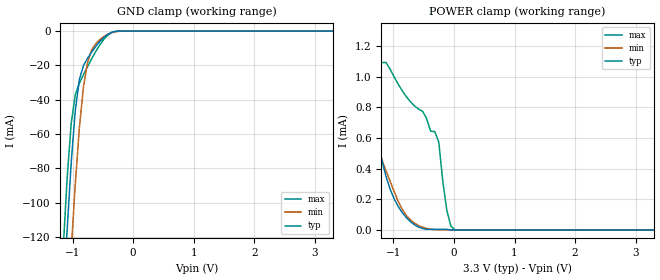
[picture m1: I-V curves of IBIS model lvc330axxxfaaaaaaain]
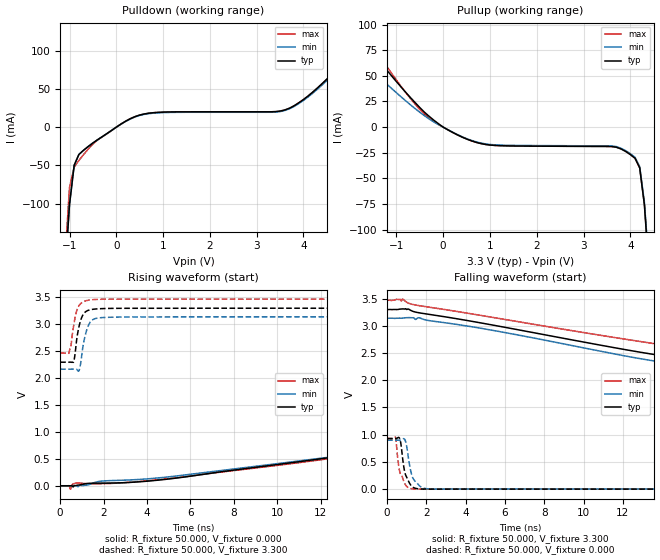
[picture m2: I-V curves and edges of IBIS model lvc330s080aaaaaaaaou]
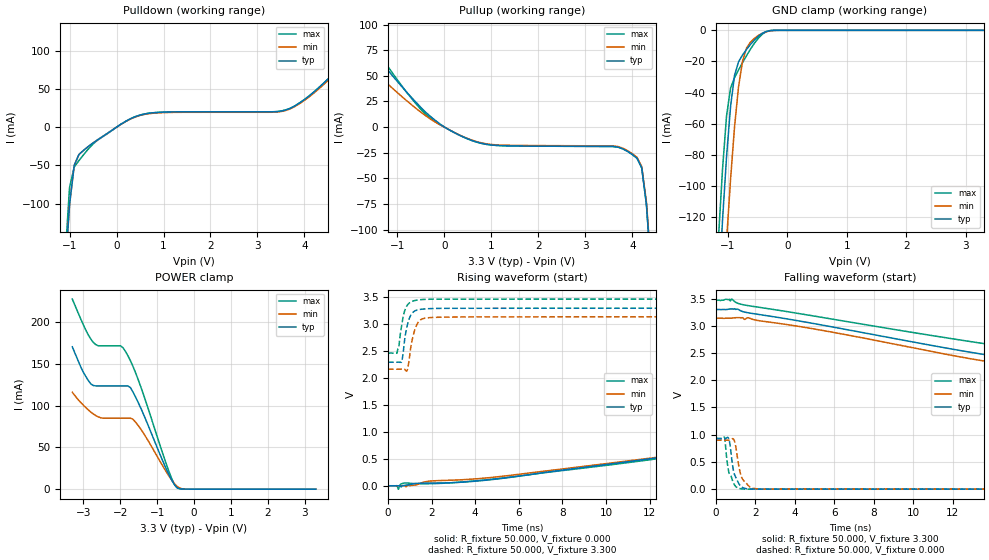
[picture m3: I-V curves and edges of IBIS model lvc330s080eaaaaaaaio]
| IBIS Models Generator: Lattice Radiant Software (64-bit) 2023.1.1.200.1
| Report Generate Date: Nov 20 2023
| Report Generate Time: 14:17:19
| IBIS File LibisMaker.ibs
| Cadence Design Systems, Inc. 2022
[IBIS ver]   4.2
[File Name]   comm_protocols_impl_1.ibs
[File Rev]   1.6
[Date]   Wed Dec 14 00:26:56 PST 2022
[Source]   Lattice Semiconductor 28fdsoi Process
[Notes]   Device: LFMXO5-25 Final
   Lattice Semiconductor has worked hard to ensure the
   models below are accurate and complete.  However, the
   data below was generated using simulation of the
   input/output model files for the silicon.  Therefore,
   the data below is for reference and initial design
   purposes only.
   Lattice Semiconductor grants permission to use this
   data for use in printed circuit design using this
   Lattice programmable logic device.  Other use of this
   code, including the selling or duplication of any
   portion is strictly prohibited.
|   NAMING CONVENTION
   The IBIS [Model] header is limited by the specification to a
   total of characters.  With such a set of characters available
   for naming models it becomes important to attempt to
   meaningfully encode the IO standards so they fit within the
   twenty character limit.  It would seem that twenty characters
   would provide room enough for describing IO's.  However, the
   PLD IO structure continues to grow more and more complex.  The
   complexity is making the twenty characters insuffiently
   descriptive.  In order to overcome this issue the naming
   convention described below is implemented to resolve the issue.
The twenty character space is managed as follows:
   bbbvvvsdddprttmaoixx
   b = standard
   v = voltage (x.xx V)
   s = slew code
   d = drive (xx.x ma)
   p = pullmode code
   r = impedance
   t = termination code
   m = mipi hard dphy mode
   o = diff resistor code
   i = diff  current code
   x = reserved
   standard
   LVCMOS   lvc
   LVCMOSH   lvh
   LVCMOSR   lvr
   LVCMOSD   lvd
   LVTTL   lvt
   lvttld   ltd
   sstl_I   ss1
   sstl_II   ss2
   sstld_I   s1d
   sstld_II   s2d
   hsul   hs1
   hsuld   h1d
   hstl_I   hs1
   hstld_I   h1d
   lvds   lvs
   lvdse   lve
   SUBLVDS   slv
   sublvdse   sle
   sublvdseh   slh
   slvs   svs
   mipi   mip
   vref1   vr1
   lvstl_I   ll1
   lvstl_II   ll2
   lvstld_I   l1d
   lvstld_II   l2d
   slew
   na   a
   fast   f
   slow   s
   med   m
   drive
   2   020
   4   040
   6   060
   8   080
   10   100
   12   120
   16   160
   50rs   r50
   na   xxx
   pullmode/clamp on
   none   a/e
   failsafe   a/e
   up   b/f
   down   c/g
   keeper   d/h
   i3c   i
   impedance
   off   a
   termination
   off   aa
   40   bb
   50   cc
   60   dd
   75   ee
   150   ff
   48   gg
   80   hh
   120   ii
   mipi hard dphy mode
   off   a
   lp   l
   hs   h
   differential resistor
   off   a
   100   b
   differential current
   NA   a
   2.0   b
   3.5   c
   Reserved   IO type
   in   input only (mipi: rx)
   ou   output (mipi: tx)
   io   I/O
   od   Open drain
   on   Inverting differential I/O
  (signal name only)
   op   Non-Inverting differential I/O
  (signal name only)
  (signal name only)
   All the IO models are generated with pull mode set to none.
   Lattice Semiconductor Corporation
   5555 NE Moore Court
   Hillsboro, OR 97214
   U.S.A
   TEL: 1-800-Lattice (USA and Canada)
   408-826-6000 (other locations)
   web: http://www.latticesemi.com/
   email: techsupport@latticesemi.com
[Disclaimer] This IBIS source code is intended as a design reference
   which illustrates how the Lattice Semiconductor device operates.
   It is the user's responsibility to verify their design for
   consistency and functionality through the use of formal
   verification methods.  Lattice Semiconductor provides no warranty
   regarding the use or functionality of this data.
[Copyright]   Copyright 2022 by Lattice Semiconductor Corporation
|   Component LFMXO5
[Component] LFMXO5
[Manufacturer] Lattice Semiconductor Corp.
[Package]
|BBG400
| variable   typ   min   max
R_pkg   0.36549   0.21269   0.57866
L_pkg   3.644e-9   2.134e-9   6.024e-9
C_pkg   1.195e-12   7.084e-13   1.745e-12
[Pin]  signal_name   model_name   R_pin   L_pin   C_pin
R3   s0_gpio[0]   lvc330s080gaaaaaaaio
G11   s0_gpio[9]   lvc330s080gaaaaaaaio
H11   s0_gpio[5]   lvc330s080gaaaaaaaio
R2   s0_gpio[1]   lvc330s080gaaaaaaaio
E15   s0_gpio[10]   lvc330s080gaaaaaaaio
G13   s0_gpio[6]   lvc330s080gaaaaaaaio
R1   s0_gpio[2]   lvc330s080gaaaaaaaio
F11   s0_gpio[11]   lvc330s080gaaaaaaaio
G12   s0_gpio[7]   lvc330s080gaaaaaaaio
P7   s0_gpio[3]   lvc330s080gaaaaaaaio
A15   s0_gpio[12]   lvc330s080eaaaaaaaio
F14   s0_gpio[8]   lvc330s080gaaaaaaaio
H12   s0_gpio[4]   lvc330s080gaaaaaaaio
A16   s0_gpio[13]   lvc330s080eaaaaaaaio
A18   s0_gpio[15]   lvc330s080faaaaaaaio
A17   s0_gpio[14]   lvc330s080gaaaaaaaio
G14   s1_uart_txd_o   lvc330s080aaaaaaaaou
H14   s1_uart_rxd_i   lvc330axxxfaaaaaaain
F20   rstn_i   lvc330axxxfaaaaaaain
| Models and submodels in the file (5): lvc330axxxfaaaaaaain (Input), lvc330s080aaaaaaaaou (Output), lvc330s080eaaaaaaaio (I/O), lvc330s080faaaaaaaio (I/O), lvc330s080gaaaaaaaio (I/O)
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[Model] lvc330axxxfaaaaaaain
Model_type Input
Polarity   Non-Inverting
Enable   Active-High
Vinl =  0.800V
Vinh =  2.000V
C_comp   5.000pF   4.000pF   5.500pF
[Temperature Range]   25.000   0.125k   -40.000
[Voltage Range]   3.300V   3.140V   3.470V
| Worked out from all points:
|   GND clamp passes 1 mA (typ) near -0.37 V on its own axis
|   POWER clamp passes 1 mA (typ) near -1.47 V on its own axis
[GND_clamp]
|Voltage   I(typ)   I(min)   I(max)
-3.3V     -1.865A    -1.847A    -1.883A
-1.156V   -160.1mA   -214.1mA   -127.6mA
-1.089V   -115.7mA   -169.6mA   -85.35mA
-1.022V   -76.45mA   -127.5mA   -53.7mA
-955mV    -46.24mA   -89.13mA   -37.05mA
-888mV    -28.3mA    -56.66mA   -30.41mA
-821mV    -20.19mA   -32.82mA   -25.52mA
-754mV    -15.89mA   -18.49mA   -20.81mA
-620mV    -9.094mA   -7.515mA   -12.09mA
-419mV    -1.868mA   -1.846mA   -2.383mA
-218mV    -16.48uA   -78.61uA   -6.639uA
3.3V      0A         0A         0A
[POWER_clamp]
|Voltage   I(typ)   I(min)   I(max)
-3.3V     37.53mA    9.364mA    73.7mA
-1.792V   1.823mA    1.318mA    2.466mA
-1.591V   1.29mA     991.8uA    1.714mA
-1.457V   981.8uA    795.4uA    1.299mA
-1.39V    843.7uA    703.6uA    1.091mA
-1.122V   347.7uA    385.2uA    1.091mA
-854mV    112.9uA    134.5uA    907uA
-586mV    19.15uA    28.85uA    788.2uA
-251mV    3.861uA    1.254uA    573.3uA
-117mV    3.861uA    1.254uA    126.7uA
17mV      69.96nA    1.254uA    1.636uA
3.3V      0A         0A         0A
[Model] lvc330s080aaaaaaaaou
Model_type Output
Polarity   Non-Inverting
Enable   Active-High
Vmeas =  1.650V
Cref =  0.0F
Rref =  1.000M
Vref =  0.0V
C_comp   5.000pF   4.000pF   5.500pF
[Temperature Range]   25.000   0.125k   -40.000
[Voltage Range]   3.300V   3.140V   3.470V
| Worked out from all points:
|   slope of the pulldown table from 0 to 0.495 V, typ, clamps not added: 31.5 ohm
|   slope of the pullup table from 0 to 0.495 V, typ, clamps not added: 43.2 ohm
|   rising waveform, R_fixture 50.000, V_fixture 0.000: 20-80 % time 10.1ns typ, 10.8ns min, 10.1ns max; typ from 0 V to 0.929 V
|   rising waveform, R_fixture 50.000, V_fixture 3.300: 20-80 % time 265ps typ, 295ps min, 259ps max; typ from 2.3 V to 3.3 V
|   falling waveform, R_fixture 50.000, V_fixture 3.300: 20-80 % time 9.12ns typ, 8.53ns min, 10.2ns max; typ from 3.3 V to 2.3 V
|   falling waveform, R_fixture 50.000, V_fixture 0.000: 20-80 % time 306ps typ, 322ps min, 315ps max; typ from 0.929 V to 0 V
[Pulldown]
|Voltage   I(typ)   I(min)   I(max)
-3.3V     -3.025A    -3.025A    -3.918A
-1.1V     -192.9mA   -192.9mA   -175.3mA
-1V       -101.2mA   -101.2mA   -78.95mA
-900mV    -49.86mA   -49.86mA   -52.21mA
-800mV    -35.81mA   -35.81mA   -43.74mA
200mV     7.775mA    7.542mA    7.775mA
800mV     18.91mA    18.34mA    18.91mA
3.6V      22.45mA    21.77mA    22.45mA
4.1V      40.8mA     39.58mA    40.8mA
5.4V      113.7mA    110.3mA    113.7mA
6.1V      131.6mA    127.7mA    131.6mA
6.6V      184.5mA    179mA      184.5mA
[Pullup]
|Voltage   I(typ)   I(min)   I(max)
-3.3V     145.5mA    90.7mA     185.8mA
-2.7V     96.8mA     74.7mA     125.4mA
-2.1V     95.1mA     70.11mA    105.4mA
-1.8V     86.3mA     64.15mA    96.9mA
-500mV    19.13mA    14.57mA    17.21mA
0V        28.62nA    228.6nA    28.62nA
600mV     -13.29mA   -12.89mA   -13.29mA
3.9V      -23.67mA   -22.96mA   -23.67mA
4.2V      -39.73mA   -38.54mA   -39.73mA
4.3V      -75.4mA    -73.1mA    -75.4mA
4.4V      -140.5mA   -136.3mA   -140.5mA
6.6V      -2.178A    -2.113A    -2.178A
[Ramp]
| variable   typ   min   max
dV/dt_r   0.690/10.154n   0.471/10.738n   0.489/10.105n
dV/dt_f   0.678/9.145n   0.512/8.567n   0.500/10.251n
R_load = 50.000
[Rising Waveform]
R_fixture = 50.000
V_fixture = 0.000
V_fixture_min = 0.000
V_fixture_max = 0.000
|  time   V(typ)   V(min)   V(max)
0s        488.9uV    1.198mV    488.9uV
395ps     658.9uV    831.3uV    3.42mV
476ps     748.1uV    1.21mV     -62.3mV
567ps     -8.091mV   1.352mV    25.37mV
756ps     7.909mV    3.31mV     52.67mV
1.276ns   44.04mV    15.94mV    39.37mV
1.915ns   50.23mV    87.65mV    39.47mV
4.871ns   120.6mV    160.8mV    128.3mV
18.34ns   852.8mV    827.3mV    867.3mV
20ns      929.1mV    899.7mV    931mV
[Rising Waveform]
R_fixture = 50.000
V_fixture = 3.300
V_fixture_min = 3.140
V_fixture_max = 3.470
|  time   V(typ)   V(min)   V(max)
0s        2.297V     2.167V     2.467V
409ps     2.297V     2.166V     2.466V
495ps     2.298V     2.167V     2.59V
617ps     2.297V     2.168V     2.964V
732ps     2.615V     2.168V     3.208V
866ps     2.954V     2.137V     3.345V
1.122ns   3.215V     2.737V     3.43V
1.393ns   3.272V     3.045V     3.454V
2.705ns   3.298V     3.135V     3.469V
20ns      3.3V       3.14V      3.47V
[Falling Waveform]
R_fixture = 50.000
V_fixture = 3.300
V_fixture_min = 3.140
V_fixture_max = 3.470
|  time   V(typ)   V(min)   V(max)
0s        3.3V       3.14V      3.47V
688ps     3.308V     3.14V      3.488V
728ps     3.309V     3.14V      3.458V
798ps     3.311V     3.142V     3.492V
1.104ns   3.305V     3.151V     3.415V
1.456ns   3.252V     3.118V     3.382V
1.635ns   3.24V      3.148V     3.371V
14.38ns   2.432V     2.313V     2.632V
17.15ns   2.336V     2.218V     2.518V
20ns      2.297V     2.167V     2.467V
[Falling Waveform]
R_fixture = 50.000
V_fixture = 0.000
V_fixture_min = 0.000
V_fixture_max = 0.000
|  time   V(typ)   V(min)   V(max)
0s        929.1mV    899.7mV    931mV
432ps     928.7mV    899.2mV    951mV
635ps     936mV      899.2mV    340.2mV
704ps     834.9mV    904.4mV    270.4mV
894ps     325.7mV    914.7mV    106.7mV
976ps     235.8mV    831.3mV    58.85mV
1.286ns   44.1mV     226.5mV    5.371mV
1.736ns   2.356mV    37.35mV    -635.9uV
2.289ns   60.46uV    1.945mV    -757.1uV
20ns      488.9uV    1.198mV    488.9uV
[Model] lvc330s080eaaaaaaaio
Model_type I/O
Polarity   Non-Inverting
Enable   Active-Low
Vinl =  0.800V
Vinh =  2.000V
Vmeas =  1.650V
Cref =  0.0F
Rref =  1.000M
Vref =  0.0V
C_comp   5.000pF   4.000pF   5.500pF
[Temperature Range]   25.000   0.125k   -40.000
[Voltage Range]   3.300V   3.140V   3.470V
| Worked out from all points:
|   slope of the pulldown table from 0 to 0.495 V, typ, clamps not added: 31.5 ohm
|   slope of the pullup table from 0 to 0.495 V, typ, clamps not added: 43.2 ohm
|   GND clamp passes 1 mA (typ) near -0.37 V on its own axis
|   POWER clamp passes 1 mA (typ) near -0.42 V on its own axis
|   rising waveform, R_fixture 50.000, V_fixture 0.000: 20-80 % time 10.1ns typ, 10.8ns min, 10.1ns max; typ from 0 V to 0.929 V
|   rising waveform, R_fixture 50.000, V_fixture 3.300: 20-80 % time 265ps typ, 295ps min, 259ps max; typ from 2.3 V to 3.3 V
|   falling waveform, R_fixture 50.000, V_fixture 3.300: 20-80 % time 9.12ns typ, 8.53ns min, 10.2ns max; typ from 3.3 V to 2.3 V
|   falling waveform, R_fixture 50.000, V_fixture 0.000: 20-80 % time 306ps typ, 322ps min, 315ps max; typ from 0.929 V to 0 V
[GND_clamp]
|Voltage   I(typ)   I(min)   I(max)
-3.3V     -1.887A    -1.873A    -1.902A
-1.156V   -166.9mA   -224mA     -132.1mA
-1.089V   -121.5mA   -178.4mA   -88.64mA
-1.022V   -81.05mA   -135.2mA   -54.94mA
-955mV    -48.98mA   -95.79mA   -37.15mA
-888mV    -28.98mA   -62.05mA   -30.42mA
-821mV    -20.23mA   -36.35mA   -25.49mA
-754mV    -15.89mA   -19.89mA   -20.81mA
-687mV    -12.34mA   -11.44mA   -16.31mA
-620mV    -9.094mA   -7.515mA   -12.09mA
-419mV    -1.869mA   -1.836mA   -2.383mA
3.3V      0A         0A         0A
[POWER_clamp]
|Voltage   I(typ)   I(min)   I(max)
-3.3V     170.3mA    115.9mA    227.4mA
-2.998V   139.6mA    100.3mA    196.3mA
-2.797V   125.9mA    92.2mA     179.4mA
-2.596V   123.5mA    86.45mA    171.5mA
-1.993V   123.5mA    84.93mA    171.5mA
-1.792V   123.5mA    84.93mA    159.6mA
-1.658V   116.4mA    83.68mA    147.1mA
-1.457V   98.28mA    72.65mA    124.1mA
-720mV    21.08mA    18.41mA    25.96mA
-452mV    1.573mA    3.148mA    1.229mA
-184mV    5.589uA    37.85uA    1.612uA
3.3V      0A         0A         0A
[Pulldown]
|Voltage   I(typ)   I(min)   I(max)
-3.3V     -3.025A    -3.025A    -3.918A
-1.1V     -192.9mA   -192.9mA   -175.3mA
-1V       -101.2mA   -101.2mA   -78.95mA
-900mV    -49.86mA   -49.86mA   -52.21mA
-800mV    -35.81mA   -35.81mA   -43.74mA
200mV     7.775mA    7.542mA    7.775mA
800mV     18.91mA    18.34mA    18.91mA
3.6V      22.45mA    21.77mA    22.45mA
4.1V      40.8mA     39.58mA    40.8mA
5.4V      113.7mA    110.3mA    113.7mA
6.1V      131.6mA    127.7mA    131.6mA
6.6V      184.5mA    179mA      184.5mA
[Pullup]
|Voltage   I(typ)   I(min)   I(max)
-3.3V     145.5mA    90.7mA     185.8mA
-2.7V     96.8mA     74.7mA     125.4mA
-2.1V     95.1mA     70.11mA    105.4mA
-1.8V     86.3mA     64.15mA    96.9mA
-500mV    19.13mA    14.57mA    17.21mA
0V        28.62nA    228.6nA    28.62nA
600mV     -13.29mA   -12.89mA   -13.29mA
3.9V      -23.67mA   -22.96mA   -23.67mA
4.2V      -39.73mA   -38.54mA   -39.73mA
4.3V      -75.4mA    -73.1mA    -75.4mA
4.4V      -140.5mA   -136.3mA   -140.5mA
6.6V      -2.178A    -2.113A    -2.178A
[Ramp]
| variable   typ   min   max
dV/dt_r   0.690/10.154n   0.471/10.738n   0.489/10.105n
dV/dt_f   0.678/9.145n   0.512/8.567n   0.500/10.251n
R_load = 50.000
[Rising Waveform]
R_fixture = 50.000
V_fixture = 0.000
V_fixture_min = 0.000
V_fixture_max = 0.000
|  time   V(typ)   V(min)   V(max)
0s        488.9uV    1.198mV    488.9uV
395ps     658.9uV    831.3uV    3.42mV
476ps     748.1uV    1.21mV     -62.3mV
567ps     -8.091mV   1.352mV    25.37mV
756ps     7.909mV    3.31mV     52.67mV
1.276ns   44.04mV    15.94mV    39.37mV
1.915ns   50.23mV    87.65mV    39.47mV
4.871ns   120.6mV    160.8mV    128.3mV
18.34ns   852.8mV    827.3mV    867.3mV
20ns      929.1mV    899.7mV    931mV
[Rising Waveform]
R_fixture = 50.000
V_fixture = 3.300
V_fixture_min = 3.140
V_fixture_max = 3.470
|  time   V(typ)   V(min)   V(max)
0s        2.297V     2.167V     2.467V
409ps     2.297V     2.166V     2.466V
495ps     2.298V     2.167V     2.59V
617ps     2.297V     2.168V     2.964V
732ps     2.615V     2.168V     3.208V
866ps     2.954V     2.137V     3.345V
1.122ns   3.215V     2.737V     3.43V
1.393ns   3.272V     3.045V     3.454V
2.705ns   3.298V     3.135V     3.469V
20ns      3.3V       3.14V      3.47V
[Falling Waveform]
R_fixture = 50.000
V_fixture = 3.300
V_fixture_min = 3.140
V_fixture_max = 3.470
|  time   V(typ)   V(min)   V(max)
0s        3.3V       3.14V      3.47V
688ps     3.308V     3.14V      3.488V
728ps     3.309V     3.14V      3.458V
798ps     3.311V     3.142V     3.492V
1.104ns   3.305V     3.151V     3.415V
1.456ns   3.252V     3.118V     3.382V
1.635ns   3.24V      3.148V     3.371V
14.38ns   2.432V     2.313V     2.632V
17.15ns   2.336V     2.218V     2.518V
20ns      2.297V     2.167V     2.467V
[Falling Waveform]
R_fixture = 50.000
V_fixture = 0.000
V_fixture_min = 0.000
V_fixture_max = 0.000
|  time   V(typ)   V(min)   V(max)
0s        929.1mV    899.7mV    931mV
432ps     928.7mV    899.2mV    951mV
635ps     936mV      899.2mV    340.2mV
704ps     834.9mV    904.4mV    270.4mV
894ps     325.7mV    914.7mV    106.7mV
976ps     235.8mV    831.3mV    58.85mV
1.286ns   44.1mV     226.5mV    5.371mV
1.736ns   2.356mV    37.35mV    -635.9uV
2.289ns   60.46uV    1.945mV    -757.1uV
20ns      488.9uV    1.198mV    488.9uV
